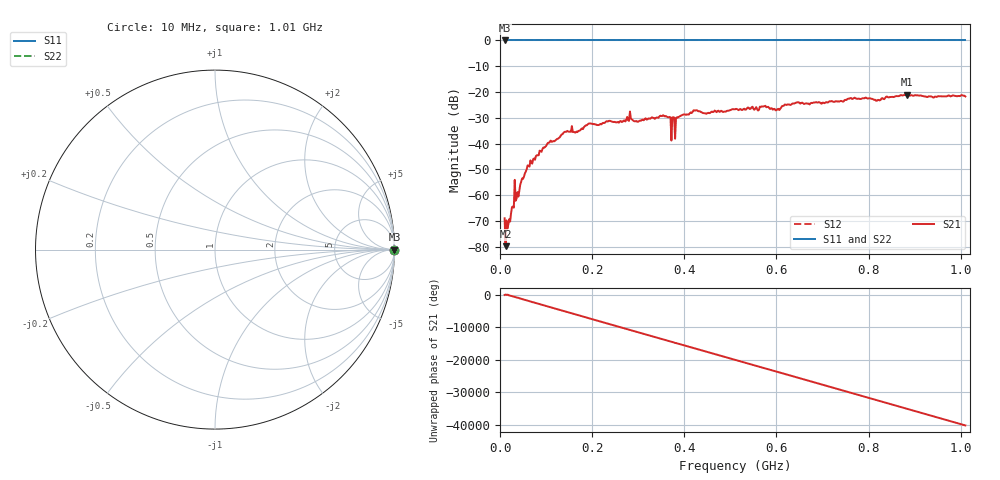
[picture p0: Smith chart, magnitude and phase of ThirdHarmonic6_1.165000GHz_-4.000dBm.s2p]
! 8/16/2025 11:43:21 AM
! C:\ANRITSUVNA\TEMP\TEMP.S2P
! CHANNEL.1
! TR.MEASUREMENT
! RAW.DATA
! RF.CORRECTION.OFF
! AVERAGING.OFF
! IF.BANDWIDTH: 5KHZ
! SWEEPTYPE:  FREQ.SWEEP(Linear)
! Reference Plane Port Info
! PORT:  PORT1  PORT2
! DISTANCE:  0  m  0  m
! TIME:  0  s  0  s
! PHASE.OFFSET:  0  deg.  0  deg.
! LOSS:  0  dB  0  dB
! REF.LOSS:  0  dB  0  dB
! REF.FREQ:  0  Hz  0  Hz
! Power Info
! POWER:  -20  dBm  -20  dBm
! EFF.POWER:  -20  dBm  -20  dBm
! SOURCE.ATTEN:  0  dB  0  dB
! TEST.ATTEN:  0  dB  0  dB
# GHZ S RI R 50.0
! FREQ.GHZ  S11RE  S11IM  S21RE  S21IM  S12RE  S12IM  S22RE  S22IM
!; PortSelection: Port_12
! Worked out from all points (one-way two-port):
!   501 points, 10 MHz to 1.01 GHz, reference 50 ohm
!   highest |S21| = -21.07 dB at 884 MHz (marker M1); lowest = -79.8 dB at 12 MHz (marker M2)
!   lowest |S11| = 0.0 dB at 10 MHz (marker M3)
!   |S11| at or under -10 dB: nowhere
!   |S22| runs from 0.0 to 0.0 dB; largest |S21 - S12| = 1.1
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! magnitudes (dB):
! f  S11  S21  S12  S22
! 10 MHz  0.0  -69.0  0.0  0.0
! 12 MHz  0.0  -79.8  0.0  0.0
! 16 MHz  0.0  -73.1  0.0  0.0
! 26 MHz  0.0  -64.7  0.0  0.0
! 28 MHz  0.0  -64.4  0.0  0.0
! 38 MHz  0.0  -58.8  0.0  0.0
! 64 MHz  0.0  -49.0  0.0  0.0
! 106 MHz  0.0  -39.7  0.0  0.0
! 142 MHz  0.0  -35.4  0.0  0.0
! 178 MHz  0.0  -34.1  0.0  0.0
! 196 MHz  0.0  -32.2  0.0  0.0
! 344 MHz  0.0  -30.0  0.0  0.0
! 366 MHz  0.0  -29.8  0.0  0.0
! 376 MHz  0.0  -29.8  0.0  0.0
! 386 MHz  0.0  -30.0  0.0  0.0
! 424 MHz  0.0  -27.2  0.0  0.0
! 510 MHz  0.0  -26.7  0.0  0.0
! 602 MHz  0.0  -26.6  0.0  0.0
! 678 MHz  0.0  -24.3  0.0  0.0
! 844 MHz  0.0  -22.1  0.0  0.0
! 884 MHz  0.0  -21.1  0.0  0.0
! 1.01 GHz  0.0  -21.7  0.0  0.0
